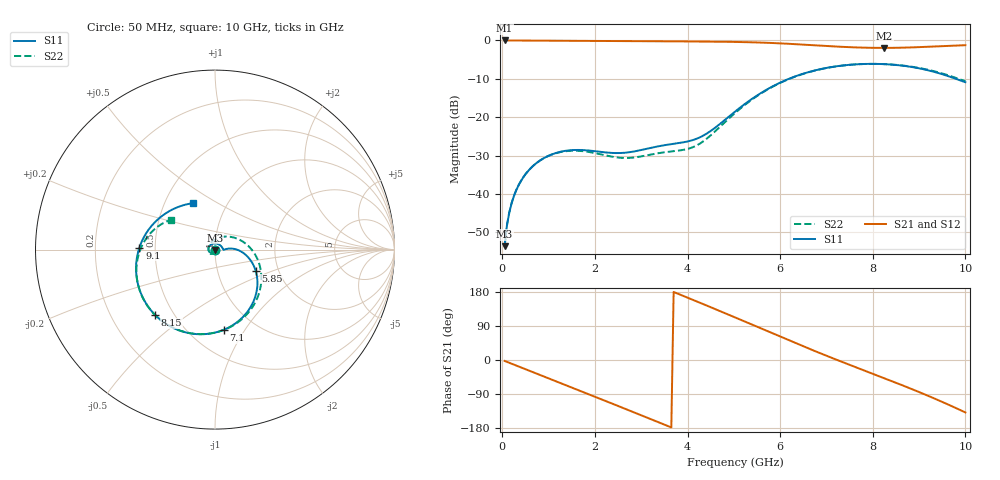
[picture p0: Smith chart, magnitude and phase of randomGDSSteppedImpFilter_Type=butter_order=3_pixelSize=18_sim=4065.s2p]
! freq	dB(S11)	phase(S11)	dB(S12)	phase(S12)
!  dB(S21)	phase(S21)	dB(S22)	phase(S22)
!S-par simulation data
#  GHz  S  DB  R 50
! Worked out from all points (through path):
!   200 points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, 50 MHz to 10 GHz, reference 50 ohm
!   highest |S21| = 0.00 dB at 50 MHz (marker M1); lowest = -1.9 dB at 8.25 GHz (marker M2)
!   group delay of S21, straight-line fit = 138 ps
!   lowest |S11| = -53.6 dB at 50 MHz (marker M3), VSWR 1.00, Z = 50 - j0.208 ohm
!   |S11| at or under -10 dB: start of sweep to 6.187 GHz; 9.796 GHz to end of sweep
!   |S22| runs from -53.6 to -6.1 dB; largest |S21 - S12| = 0
!   S11 on the Smith chart (normalised r, x): 50 MHz: 1.00, -0.00; 5.85 GHz: 1.53, -0.38; 7.1 GHz: 0.72, -0.81; 8.15 GHz: 0.40, -0.38; 9.1 GHz: 0.41, +0.01; 10 GHz: 0.69, +0.39
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0.05  -53.58 -82.6  -0.00 -2.5  -0.00 -2.5  -53.58 -81.1
0.1  -48.20 -89.4  -0.01 -4.9  -0.01 -4.9  -48.18 -87.6
0.2  -42.45 -98.6  -0.02 -9.8  -0.02 -9.8  -42.41 -95.0
0.55  -34.12 -122.0  -0.04 -26.7  -0.04 -26.7  -34.10 -112.0
1.1  -29.54 -156.5  -0.07 -53.3  -0.07 -53.3  -29.59 -133.8
1.75  -28.56 157.8  -0.10 -84.8  -0.10 -84.8  -28.85 -153.3
2.5  -29.34 88.6  -0.15 -121.3  -0.15 -121.3  -30.51 -157.7
2.95  -28.66 45.4  -0.18 -143.4  -0.18 -143.4  -30.31 -155.3
3.4  -27.50 14.2  -0.21 -165.6  -0.21 -165.6  -29.31 -166.4
4.2  -25.58 -0.3  -0.28 154.5  -0.28 154.5  -27.33 123.1
5.05  -18.30 0.0  -0.39 111.1  -0.39 111.1  -18.65 36.7
5.45  -14.74 -11.7  -0.50 90.4  -0.50 90.4  -14.90 8.8
5.85  -11.88 -27.3  -0.68 69.5  -0.68 69.5  -11.97 -15.7
6.7  -7.96 -65.4  -1.23 26.0  -1.23 26.0  -8.00 -62.5
7.1  -6.94 -83.9  -1.52 6.4  -1.52 6.4  -6.97 -82.7
7.6  -6.25 -106.9  -1.80 -17.5  -1.80 -17.5  -6.26 -106.9
8.15  -6.13 -132.5  -1.94 -43.4  -1.94 -43.4  -6.12 -132.5
8.25  -6.18 -137.3  -1.95 -48.1  -1.95 -48.1  -6.16 -137.1
8.35  -6.25 -142.2  -1.94 -52.9  -1.94 -52.9  -6.22 -141.7
9.1  -7.51 178.4  -1.70 -89.6  -1.70 -89.6  -7.40 -176.1
9.55  -8.99 150.1  -1.45 -113.3  -1.45 -113.3  -8.78 163.7
10  -10.89 115.0  -1.24 -138.4  -1.24 -138.4  -10.62 145.5
